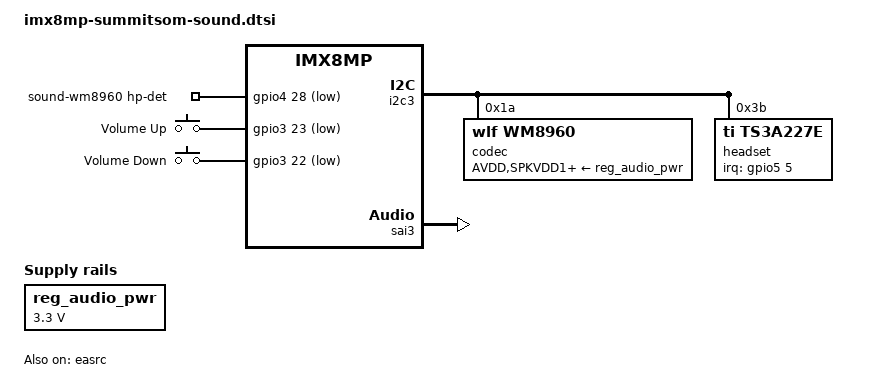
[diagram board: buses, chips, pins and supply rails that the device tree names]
// SPDX-License-Identifier: (GPL-2.0+ OR MIT)
/*
 * Copyright 2021 Ezurio LLC
 */

&{/} {
	reg_audio_pwr: regulator-audio-pwr {
		compatible = "regulator-fixed";
		regulator-name = "audio-pwr";

		regulator-min-microvolt = <3300000>;
		regulator-max-microvolt = <3300000>;

		/* using gpio hog to resolve i2c lockup */
		//pinctrl-names = "default";
		//pinctrl-0 = <&pinctrl_audpwr>;
		//gpio = <&gpio4 29 GPIO_ACTIVE_HIGH>;
		//enable-active-high;
	};

	sound-wm8960 {
		compatible = "fsl,imx-audio-wm8960";

		pinctrl-names = "default";
		pinctrl-0 = <&pinctrl_wm8960>;

		model = "wm8960-audio";
		audio-cpu = <&sai3>;
		audio-codec = <&codec>;
		audio-asrc = <&easrc>;
		audio-headset = <&headset>;
		hp-det-gpio = <&gpio4 28 GPIO_ACTIVE_LOW>;
		audio-routing =
			"Headphone Jack", "HP_L",
			"Headphone Jack", "HP_R",
			"Ext Spk", "SPK_LP",
			"Ext Spk", "SPK_LN",
			"Ext Spk", "SPK_RP",
			"Ext Spk", "SPK_RN",
			"LINPUT1", "Mic Jack";
	};

	sound-xcvr {
		compatible = "fsl,imx-audio-card";
		model = "imx-audio-xcvr";
		status = "disabled";

		pri-dai-link {
			link-name = "XCVR PCM";
			cpu {
				sound-dai = <&xcvr>;
			};
		};
	};

	audio_volume {
		compatible = "gpio-keys";
		pinctrl-names = "default";
		pinctrl-0 = <&pinctrl_audio_keys>;

		volume-up {
			label = "Volume Up";
			gpios = <&gpio3 23 GPIO_ACTIVE_LOW>;
			linux,code = <KEY_VOLUMEUP>;
		};

		volume-down {
			label = "Volume Down";
			gpios = <&gpio3 22 GPIO_ACTIVE_LOW>;
			linux,code = <KEY_VOLUMEDOWN>;
		};
	};
};

&i2c3 {
	#address-cells = <1>;
	#size-cells = <0>;

	codec: wm8960@1a {
		compatible = "wlf,wm8960";
		reg = <0x1a>;
		clocks = <&audio_blk_ctrl IMX8MP_CLK_AUDIOMIX_SAI3_MCLK1>;
		clock-names = "mclk";
		wlf,shared-lrclk;
		wlf,hp-cfg = <3 3 3>;
		wlf,gpio-cfg = <1 3>;
		wlf,mic-bias-0.6;
		AVDD-supply = <&reg_audio_pwr>;
		SPKVDD1-supply = <&reg_audio_pwr>;
		SPKVDD2-supply = <&reg_audio_pwr>;
	};

	headset: ts3a227e@3b {
		pinctrl-names = "default";
		pinctrl-0 = <&pinctrl_ts3a227e>;

		compatible = "ti,ts3a227e";
		reg = <0x3b>;
		interrupt-parent = <&gpio5>;
		interrupts = <5 IRQ_TYPE_LEVEL_LOW>;
		ti,micbias = <1>;
		ti,debounce-insertion-ms = <200>;
	};
};

&easrc {
	fsl,asrc-rate  = <48000>;
	status = "okay";
};

&sai3 {
	pinctrl-names = "default";
	pinctrl-0 = <&pinctrl_sai3>;
	assigned-clocks = <&clk IMX8MP_CLK_SAI3>;
	assigned-clock-parents = <&clk IMX8MP_AUDIO_PLL1_OUT>;
	assigned-clock-rates = <12288000>;
	fsl,sai-mclk-direction-output;
	status = "okay";
};

&xcvr {
	#sound-dai-cells = <0>;
//	status = "okay";
};

&sdma2 {
	status = "okay";
};


&iomuxc {
	pinctrl_wm8960: wm8960grp {
		fsl,pins = <
			MX8MP_IOMUXC_SAI3_RXFS__GPIO4_IO28		0x86
		>;
	};

	pinctrl_ts3a227e: ts3a227egrp {
		fsl,pins = <
			MX8MP_IOMUXC_SPDIF_EXT_CLK__GPIO5_IO05     0x000001C6
		>;
	};

	pinctrl_sai3: sai3grp {
		fsl,pins = <
			MX8MP_IOMUXC_SAI3_TXFS__AUDIOMIX_SAI3_TX_SYNC	0xd6
			MX8MP_IOMUXC_SAI3_TXC__AUDIOMIX_SAI3_TX_BCLK	0xd6
			MX8MP_IOMUXC_SAI3_RXD__AUDIOMIX_SAI3_RX_DATA00	0xd6
			MX8MP_IOMUXC_SAI3_TXD__AUDIOMIX_SAI3_TX_DATA00	0xd6
			MX8MP_IOMUXC_SAI3_MCLK__AUDIOMIX_SAI3_MCLK	0xd6
		>;
	};

	pinctrl_audio_keys: audio_keysgrp {
		fsl,pins = <
			MX8MP_IOMUXC_SAI5_RXD1__GPIO3_IO22         0x400001C6
			MX8MP_IOMUXC_SAI5_RXD2__GPIO3_IO23         0x400001C6
		>;
	};
};
